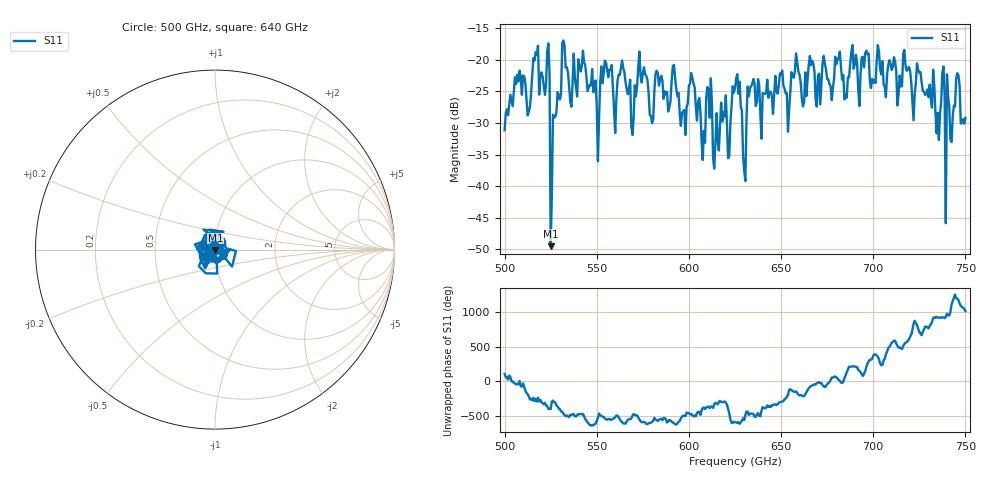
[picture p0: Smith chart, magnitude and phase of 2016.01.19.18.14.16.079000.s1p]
!Created with skrf (http://scikit-rf.org).
# GHz S RI R 50.0
!freq ReS11 ImS11
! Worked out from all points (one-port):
!   401 points, 500 GHz to 750 GHz, reference 50 ohm
!   lowest |S11| = -49.5 dB at 525 GHz (marker M1), VSWR 1.01, Z = 50.2 - j0.241 ohm
!   |S11| at or under -10 dB: start of sweep to end of sweep
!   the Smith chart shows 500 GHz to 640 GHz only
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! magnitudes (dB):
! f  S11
! 500 GHz  -31.2
! 506.9 GHz  -22.4
! 513.1 GHz  -28.2
! 516.9 GHz  -18.8
! 523.1 GHz  -18.6
! 525 GHz  -49.5
! 526.2 GHz  -28.7
! 531.2 GHz  -17.4
! 550 GHz  -27.6
! 562.5 GHz  -22.4
! 570 GHz  -29.2
! 573.8 GHz  -22.5
! 579.4 GHz  -28.9
! 583.1 GHz  -22.1
! 593.8 GHz  -25.8
! 596.9 GHz  -28.1
! 601.9 GHz  -22.9
! 607.5 GHz  -35.9
! 611.2 GHz  -29.2
! 614.4 GHz  -33.2
! 621.9 GHz  -35.3
! 625 GHz  -24.5
! 630 GHz  -37.6
! 634.4 GHz  -23.8
! 656.2 GHz  -22.5
! 687.5 GHz  -20.6
! 718.8 GHz  -21.6
! 750 GHz  -29.2
